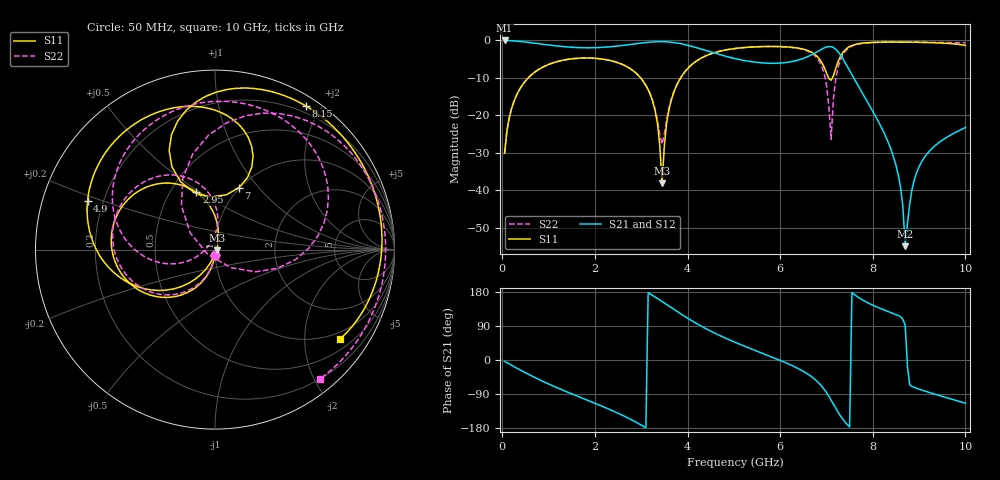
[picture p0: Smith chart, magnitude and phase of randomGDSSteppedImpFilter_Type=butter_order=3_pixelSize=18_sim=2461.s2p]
! freq	dB(S11)	phase(S11)	dB(S12)	phase(S12)
!  dB(S21)	phase(S21)	dB(S22)	phase(S22)
!S-par simulation data
#  GHz  S  DB  R 50
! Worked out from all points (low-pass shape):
!   200 points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, 50 MHz to 10 GHz, reference 50 ohm
!   highest |S21| = -0.01 dB at 50 MHz (marker M1); lowest = -54.9 dB at 8.7 GHz (marker M2)
!   |S21| within 3 dB of the highest: start of sweep to 4.48 GHz; 6.801 GHz to 7.249 GHz (447.9 MHz wide, 6.38 % of centre)
!   lowest |S11| = -38.1 dB at 3.45 GHz (marker M3), VSWR 1.03, Z = 51.2 - j0.308 ohm
!   |S11| at or under -10 dB: start of sweep to 560 MHz; 2.986 GHz to 3.851 GHz (865 MHz wide, 25.3 % of centre); 7.045 GHz to 7.126 GHz (80.68 MHz wide, 1.14 % of centre)
!   |S22| runs from -30.1 to -0.4 dB; largest |S21 - S12| = 0
!   S11 on the Smith chart (normalised r, x): 50 MHz: 0.99, -0.06; 2.95 GHz: 0.67, +0.48; 4.9 GHz: 0.14, +0.18; 7 GHz: 0.99, +0.79; 8.15 GHz: 0.12, +1.81; 10 GHz: 0.78, -2.91
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0.05  -30.08 -93.5  -0.01 -3.5  -0.01 -3.5  -30.08 -93.7
0.5  -10.82 -123.1  -0.42 -33.6  -0.42 -33.6  -10.83 -125.2
1.75  -4.69 171.6  -1.95 -101.8  -1.95 -101.8  -4.70 164.2
2.95  -9.49 107.9  -0.77 -168.2  -0.77 -168.2  -9.46 98.5
3.4  -27.86 66.8  -0.32 158.4  -0.32 158.4  -24.96 103.9
3.45  -38.12 -14.0  -0.33 154.4  -0.33 154.4  -27.68 143.3
3.55  -21.94 -109.4  -0.37 146.3  -0.37 146.3  -20.97 -161.7
3.8  -11.11 -132.3  -0.74 126.0  -0.74 126.0  -11.03 -163.7
4.9  -2.38 159.0  -4.48 53.3  -4.48 53.3  -2.39 126.2
5.05  -2.12 151.9  -4.92 45.5  -4.92 45.5  -2.13 118.0
5.95  -1.62 113.1  -6.07 1.6  -6.07 1.6  -1.65 71.1
6.7  -3.31 76.3  -3.70 -46.1  -3.70 -46.1  -3.58 19.2
7  -8.65 68.9  -1.75 -85.9  -1.75 -85.9  -11.79 -28.7
7.1  -10.63 94.8  -1.65 -105.7  -1.65 -105.7  -26.36 -144.1
7.2  -7.47 116.9  -2.35 -127.1  -2.35 -127.1  -10.24 127.4
7.35  -3.29 110.7  -4.82 -155.8  -4.82 -155.8  -3.89 93.2
8.15  -0.47 57.7  -22.32 136.7  -22.32 136.7  -0.49 21.1
8.35  -0.45 48.3  -27.69 127.0  -27.69 127.0  -0.45 11.2
8.6  -0.45 36.9  -39.22 114.2  -39.22 114.2  -0.44 0.0
8.7  -0.46 32.4  -54.88 91.6  -54.88 91.6  -0.44 -4.1
9  -0.51 18.7  -33.69 -77.0  -33.69 -77.0  -0.46 -16.0
10  -1.35 -35.8  -23.24 -114.0  -23.24 -114.0  -0.64 -50.8
